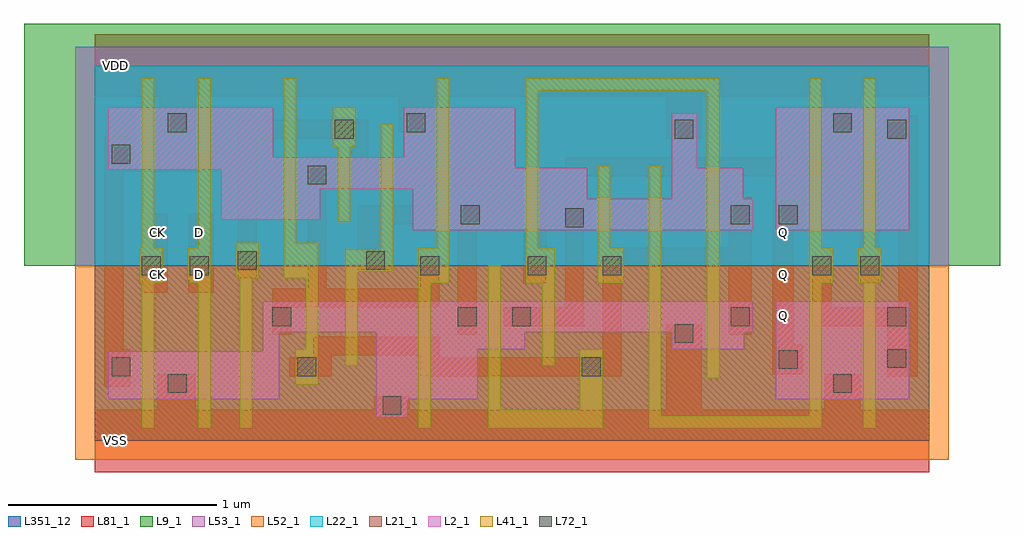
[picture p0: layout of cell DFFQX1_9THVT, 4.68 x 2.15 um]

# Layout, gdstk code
import gdstk
lib = gdstk.Library(unit=1e-6, precision=1e-09)
def R(c, l, rs):  # rectangles x0, y0, x1, y1
    for r in rs: c.add(gdstk.rectangle(r[:2], r[2:], *l))
def P(c, l, *ps):  # polygons
    for p in ps: c.add(gdstk.Polygon(p, *l))
L2_1 = (2, 1)
L9_1 = (9, 1)
L21_1 = (21, 1)
L22_1 = (22, 1)
L41_1 = (41, 1)
L52_1 = (52, 1)
L53_1 = (53, 1)
L72_1 = (72, 1)
L81_1 = (81, 1)
L351_12 = (351, 12)

dffqx1_9thvt = lib.new_cell('DFFQX1_9THVT')
R(dffqx1_9thvt, L2_1, [(3.265,0.2,3.905,0.67), (3.265,1.01,3.905,1.6)])
P(dffqx1_9thvt, L2_1, [(1.35,0.11),(1.35,0.52),(0.885,0.52),(0.885,0.2),(0.065,0.2),(0.065,0.43),(0.805,0.43),(0.805,0.67),(3.155,0.67),(3.155,0.52),(3.114,0.52),(3.114,0.44),(2.765,0.44),(2.765,0.52),(2.06,0.52),(2.06,0.44),(1.835,0.44),(1.835,0.2),(1.5,0.2),(1.5,0.11)],
  [(1.525,1.01),(1.525,1.21),(1.08,1.21),(1.08,1.06),(0.605,1.06),(0.605,1.3),(0.065,1.3),(0.065,1.6),(0.855,1.6),(0.855,1.36),(1.48,1.36),(1.48,1.6),(2.015,1.6),(2.015,1.31),(2.36,1.31),(2.36,1.16),(2.765,1.16),(2.765,1.57),(2.885,1.57),(2.885,1.31),(3.11,1.31),(3.11,1.16),(3.155,1.16),(3.155,1.01)])
R(dffqx1_9thvt, L9_1, [(-0.34,0.84,4.34,2)])
R(dffqx1_9thvt, L21_1, [(0,0,4,0.84)])
R(dffqx1_9thvt, L22_1, [(0,0.84,4,1.8)])
P(dffqx1_9thvt, L41_1, [(3.685,0.06),(3.685,0.755),(3.66,0.755),(3.66,0.925),(3.685,0.925),(3.685,1.74),(3.745,1.74),(3.745,0.925),(3.77,0.925),(3.77,0.755),(3.745,0.755),(3.745,0.06)],
  [(2.655,0.06),(2.655,1.32),(2.715,1.32),(2.715,0.12),(3.425,0.12),(3.425,1.74),(3.485,1.74),(3.485,0.925),(3.54,0.925),(3.54,0.755),(3.485,0.755),(3.485,0.06)],
  [(2.935,0.3),(2.935,1.68),(2.125,1.68),(2.125,0.925),(2.205,0.925),(2.205,0.36),(2.145,0.36),(2.145,0.755),(2.065,0.755),(2.065,1.74),(2.995,1.74),(2.995,0.3)],
  [(2.41,0.755),(2.41,1.32),(2.47,1.32),(2.47,0.925),(2.535,0.925),(2.535,0.755)],
  [(1.885,0.06),(1.885,0.84),(1.945,0.84),(1.945,0.15),(2.325,0.15),(2.325,0.44),(2.435,0.44),(2.435,0.06)],
  [(1.55,0.06),(1.55,0.925),(1.64,0.925),(1.64,1.74),(1.7,1.74),(1.7,0.755),(1.61,0.755),(1.61,0.06)],
  [(1.201,0.36),(1.201,0.92),(1.37,0.92),(1.37,1.52),(1.43,1.52),(1.43,0.81),(1.261,0.81),(1.261,0.36)],
  [(1.165,1.05),(1.165,1.41),(1.14,1.41),(1.14,1.6),(1.25,1.6),(1.25,1.41),(1.225,1.41),(1.225,1.05)],
  [(0.961,0.27),(0.961,0.44),(1.011,0.44),(1.011,0.78),(0.905,0.78),(0.905,1.74),(0.965,1.74),(0.965,0.95),(1.071,0.95),(1.071,0.27)],
  [(0.695,0.06),(0.695,0.78),(0.675,0.78),(0.675,0.95),(0.785,0.95),(0.785,0.78),(0.755,0.78),(0.755,0.06)],
  [(0.495,0.06),(0.495,0.755),(0.445,0.755),(0.445,0.925),(0.495,0.925),(0.495,1.74),(0.555,1.74),(0.555,0.06)],
  [(0.225,0.06),(0.225,0.755),(0.215,0.755),(0.215,0.925),(0.225,0.925),(0.225,1.74),(0.285,1.74),(0.285,0.925),(0.325,0.925),(0.325,0.755),(0.285,0.755),(0.285,0.06)])
R(dffqx1_9thvt, L52_1, [(-0.095,-0.09,4.095,0.84)])
R(dffqx1_9thvt, L53_1, [(-0.095,0.84,4.095,1.89)])
R(dffqx1_9thvt, L72_1, [(1.38,0.125,1.47,0.215), (0.35,0.23,0.44,0.32), (3.54,0.23,3.63,0.32), (0.08,0.31,0.17,0.4), (0.971,0.31,1.061,0.4), (2.335,0.31,2.425,0.4), (3.28,0.345,3.37,0.435), (3.8,0.35,3.89,0.44), (2.78,0.47,2.87,0.56), (0.851,0.55,0.941,0.64), (1.74,0.55,1.83,0.64), (2,0.55,2.09,0.64), (3.05,0.55,3.14,0.64), (3.8,0.55,3.89,0.64), (0.225,0.795,0.315,0.885), (0.455,0.795,0.545,0.885), (1.56,0.795,1.65,0.885), (2.075,0.795,2.165,0.885), (2.435,0.795,2.525,0.885), (3.44,0.795,3.53,0.885), (3.67,0.795,3.76,0.885), (0.685,0.82,0.775,0.91), (1.3,0.82,1.39,0.91), (2.255,1.025,2.345,1.115), (1.755,1.04,1.845,1.13), (3.05,1.04,3.14,1.13), (3.28,1.04,3.37,1.13), (1.02,1.23,1.11,1.32), (0.08,1.33,0.17,1.42), (1.15,1.45,1.24,1.54), (2.78,1.45,2.87,1.54), (3.8,1.45,3.89,1.54), (0.35,1.48,0.44,1.57), (1.495,1.48,1.585,1.57), (3.54,1.48,3.63,1.57)])
R(dffqx1_9thvt, L81_1, [(0.004,-0.146,3.996,0.146), (3.254,0.324,3.346,1.151), (3.254,0.324,3.346,1.151), (3.254,0.324,3.346,1.151), (0.225,0.71,0.35,1.09), (0.45,0.71,0.57,1.09), (0.229,0.714,0.346,1.086), (0.229,0.714,0.346,1.086), (0.454,0.714,0.566,1.086), (0.454,0.714,0.566,1.086), (0.004,1.654,3.996,1.946)])
P(dffqx1_9thvt, L81_1, [(0,-0.15),(0,0.15),(0.3,0.15),(0.3,0.32),(0.48,0.32),(0.48,0.15),(1.34,0.15),(1.34,0.215),(1.51,0.215),(1.51,0.15),(2.74,0.15),(2.74,0.56),(2.91,0.56),(2.91,0.15),(3.5,0.15),(3.5,0.32),(3.67,0.32),(3.67,0.15),(4,0.15),(4,-0.15)],
  [(2.74,1.45),(2.74,1.65),(1.625,1.65),(1.625,1.48),(1.455,1.48),(1.455,1.65),(0.48,1.65),(0.48,1.48),(0.31,1.48),(0.31,1.65),(0,1.65),(0,1.95),(4,1.95),(4,1.65),(3.67,1.65),(3.67,1.48),(3.5,1.48),(3.5,1.65),(2.91,1.65),(2.91,1.45)],
  [(3.8,0.31),(3.8,0.55),(3.44,0.55),(3.44,0.925),(3.53,0.925),(3.53,0.64),(3.855,0.64),(3.855,1.45),(3.76,1.45),(3.76,1.56),(3.945,1.56),(3.945,0.31)],
  [(1.96,0.55),(1.96,0.64),(2.255,0.64),(2.255,1.36),(3.76,1.36),(3.76,0.755),(3.67,0.755),(3.67,1.27),(2.345,1.27),(2.345,0.55)],
  [(3.25,0.32),(3.25,1.155),(3.395,1.155),(3.395,1.015),(3.35,1.015),(3.35,0.46),(3.395,0.46),(3.395,0.32)],
  [(0.931,0.31),(0.931,0.4),(1.046,0.4),(1.046,0.5),(1.65,0.5),(1.65,0.4),(2.435,0.4),(2.435,0.925),(3.04,0.925),(3.04,1.17),(3.15,1.17),(3.15,0.51),(3.04,0.51),(3.04,0.835),(2.525,0.835),(2.525,0.31),(1.56,0.31),(1.56,0.41),(1.136,0.41),(1.136,0.31)],
  [(0.045,0.26),(0.045,1.46),(0.17,1.46),(0.17,1.38),(0.685,1.38),(0.685,1.54),(1.31,1.54),(1.31,1.31),(2.165,1.31),(2.165,0.755),(2.055,0.755),(2.055,1.22),(1.22,1.22),(1.22,1.45),(0.775,1.45),(0.775,0.78),(0.685,0.78),(0.685,1.29),(0.135,1.29),(0.135,0.44),(0.17,0.44),(0.17,0.26)],
  [(1.74,0.51),(1.74,1.04),(1.43,1.04),(1.43,0.82),(1.26,0.82),(1.26,1.13),(1.885,1.13),(1.885,1.04),(1.83,1.04),(1.83,0.51)],
  [(0.851,0.51),(0.851,0.73),(1.02,0.73),(1.02,1.36),(1.11,1.36),(1.11,0.73),(1.56,0.73),(1.56,0.925),(1.65,0.925),(1.65,0.64),(0.941,0.64),(0.941,0.51)])
R(dffqx1_9thvt, L351_12, [(0,0,4,1.8)])
dffqx1_9thvt.add(gdstk.Label('VSS', (0.1,0), layer=81, texttype=6))
dffqx1_9thvt.add(gdstk.Label('VDD', (0.1,1.8), layer=81, texttype=6))
dffqx1_9thvt.add(gdstk.Label('CK', (0.3,0.8), layer=81, texttype=6))
dffqx1_9thvt.add(gdstk.Label('CK', (0.3,1), layer=81, texttype=6))
dffqx1_9thvt.add(gdstk.Label('D', (0.5,0.8), layer=81, texttype=6))
dffqx1_9thvt.add(gdstk.Label('D', (0.5,1), layer=81, texttype=6))
dffqx1_9thvt.add(gdstk.Label('Q', (3.3,0.6), layer=81, texttype=6))
dffqx1_9thvt.add(gdstk.Label('Q', (3.3,0.8), layer=81, texttype=6))
dffqx1_9thvt.add(gdstk.Label('Q', (3.3,1), layer=81, texttype=6))
dffqx1_9thvt.add(gdstk.Label('VNW', (0.1,1.8), layer=388, texttype=12))
dffqx1_9thvt.add(gdstk.Label('VPW', (0.1,0), layer=387, texttype=12))

lib.write_gds('DFFQX1_9THVT.gds')
